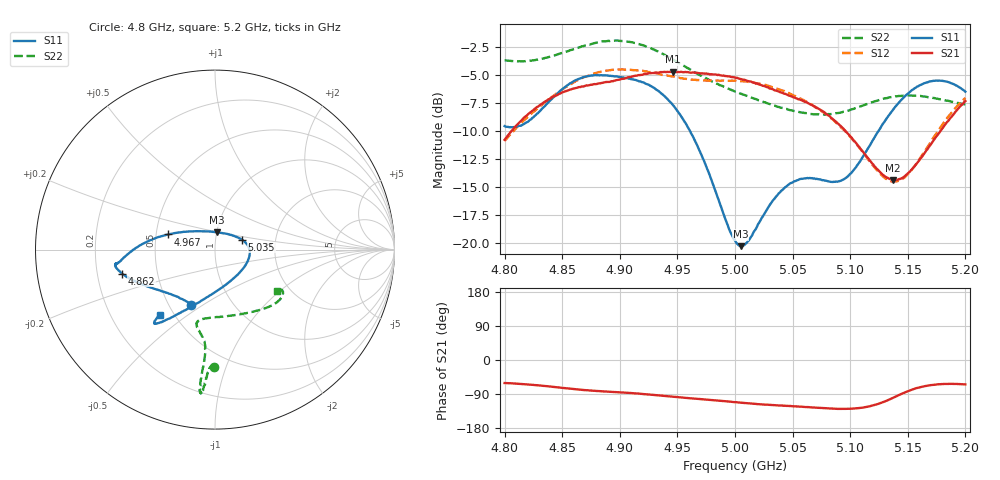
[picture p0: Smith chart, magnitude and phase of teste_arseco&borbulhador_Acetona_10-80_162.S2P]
! Network Analyzer HP8722D
! Hewlett-Packard
! Data name: Linha & Wilkinson
! Saver's name: Rodrigo Anjos
! Comments: Teste da utilização de aquisição
! continua pelo VNA HP8722D
! Time and date: 17/4/2025 15:42
!  Frequency  S11  S21  S12  S22
# HZ  S  MA R 50
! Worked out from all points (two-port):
!   401 points, 4.8 GHz to 5.2 GHz, reference 50 ohm
!   highest |S21| = -4.69 dB at 4.946 GHz (marker M1); lowest = -14.4 dB at 5.137 GHz (marker M2)
!   |S21| within 3 dB of the highest: 4.83 GHz to 5.067 GHz (236.8 MHz wide, 4.78 % of centre); 5.196435 GHz to end of sweep
!   lowest |S11| = -20.3 dB at 5.005 GHz (marker M3), VSWR 1.21, Z = 49.9 + j9.72 ohm
!   |S11| at or under -10 dB: 4.961 GHz to 5.124 GHz (163.4 MHz wide, 3.24 % of centre)
!   |S22| runs from -8.5 to -1.9 dB; largest |S21 - S12| = 0.88
!   S11 on the Smith chart (normalised r, x): 4.8 GHz: 0.65, -0.45; 4.862 GHz: 0.31, -0.12; 4.967 GHz: 0.58, +0.11; 5.035 GHz: 1.34, +0.15; 5.2 GHz: 0.42, -0.39
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4.8e9  0.3333 -113.2  0.2894 -60.8  0.286 -175.2  0.6563 -90.2
4.819e9  0.3462 -133.1  0.3706 -64.2  0.3613 -173.9  0.6525 -91.9
4.862e9  0.5351 -165.5  0.4936 -77.4  0.5309 -177.2  0.743 -94.2
4.867e9  0.5478 -167.5  0.5013 -78.6  0.5457 -178.2  0.7573 -94.3
4.898e9  0.5544 -172.0  0.5356 -84.9  0.5947 175.5  0.8047 -95.6
4.934e9  0.4764 -178.0  0.5775 -93.7  0.5711 171.6  0.7131 -96.1
4.946e9  0.4144 176.5  0.5828 -97.1  0.5558 171.8  0.662 -95.9
4.967e9  0.2746 162.1  0.5771 -102.4  0.5346 173.7  0.5721 -95.4
5e9  0.1027 102.2  0.5488 -111.4  0.5325 175.9  0.4758 -99.5
5.005e9  0.09681 84.8  0.5407 -112.6  0.5285 175.8  0.465 -100.6
5.012e9  0.1027 62.0  0.5291 -114.3  0.524 175.6  0.4517 -102.1
5.035e9  0.1596 20.3  0.4803 -119.2  0.4918 174.4  0.4108 -103.5
5.05e9  0.1867 4.9  0.4507 -122.1  0.4589 173.8  0.3909 -99.4
5.067e9  0.1951 -13.2  0.4132 -125.0  0.4149 173.4  0.3771 -90.3
5.085e9  0.1875 -41.4  0.3578 -128.5  0.3564 173.3  0.3786 -76.6
5.097e9  0.1967 -65.9  0.3121 -128.9  0.3107 174.5  0.3896 -66.7
5.134e9  0.375 -116.1  0.1937 -104.3  0.1903 -156.6  0.4479 -42.9
5.137e9  0.3931 -118.1  0.1912 -100.1  0.1884 -151.8  0.4509 -41.6
5.15e9  0.4647 -123.9  0.2047 -82.6  0.203 -131.6  0.4565 -36.7
5.168e9  0.5256 -128.4  0.2674 -67.4  0.2732 -113.6  0.4481 -32.4
5.184e9  0.526 -130.0  0.3474 -63.2  0.3609 -107.5  0.4331 -31.2
5.2e9  0.4749 -130.4  0.4314 -64.5  0.4455 -106.8  0.416 -33.6
